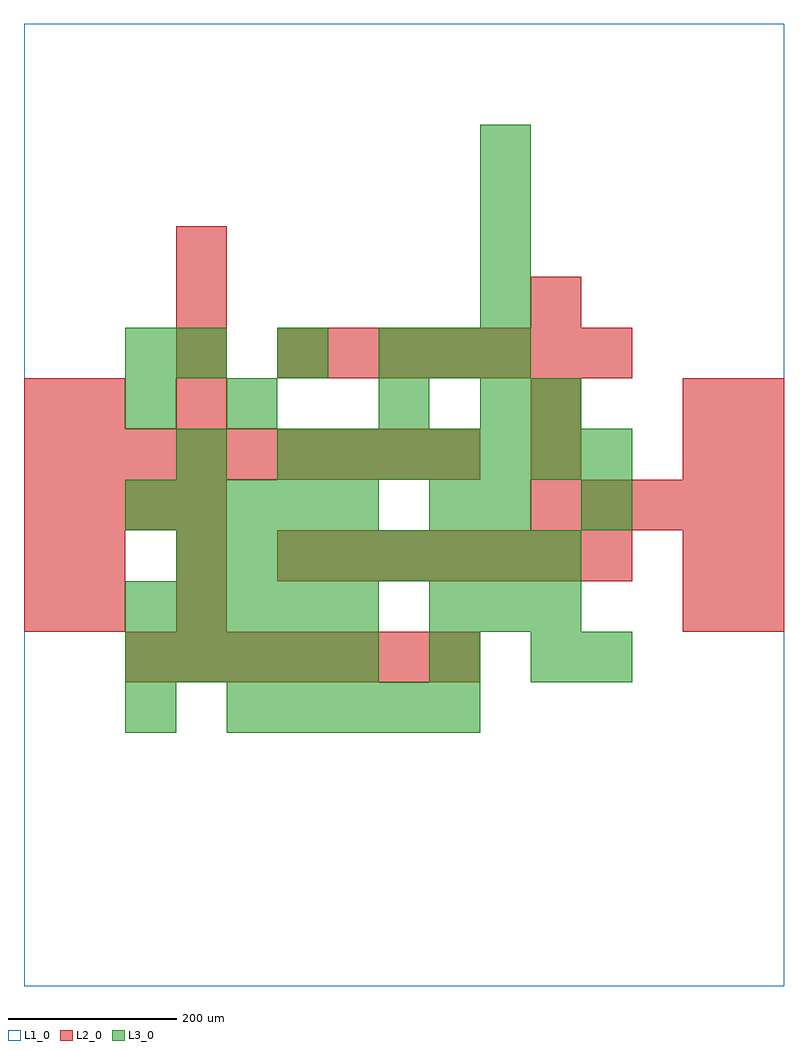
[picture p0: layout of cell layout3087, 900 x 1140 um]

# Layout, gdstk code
import gdstk
lib = gdstk.Library(unit=1e-6, precision=1e-09)
def R(c, l, rs):  # rectangles x0, y0, x1, y1
    for r in rs: c.add(gdstk.rectangle(r[:2], r[2:], *l))
def A(c, l, x, y, w, h, nx, ny, dx, dy):  # array of equal rectangles
    R(c, l, [(x+i*dx, y+j*dy, x+i*dx+w, y+j*dy+h) for i in range(nx) for j in range(ny)])
L1_0 = (1, 0)
L2_0 = (2, 0)
L3_0 = (3, 0)

layout3087 = lib.new_cell('layout3087')
R(layout3087, L1_0, [(0,0,900,1140)])
A(layout3087, L2_0, 120, 360, 60, 60, 7, 1, 60, 0)
A(layout3087, L2_0, 60, 480, 60, 60, 3, 1, 120, 0)
A(layout3087, L2_0, 360, 480, 60, 60, 6, 1, 60, 0)
A(layout3087, L2_0, 0, 540, 60, 60, 4, 1, 60, 0)
A(layout3087, L2_0, 600, 540, 60, 60, 5, 1, 60, 0)
A(layout3087, L2_0, 0, 600, 60, 60, 9, 1, 60, 0)
A(layout3087, L2_0, 180, 660, 60, 60, 1, 4, 0, 60)
A(layout3087, L2_0, 300, 720, 60, 60, 7, 1, 60, 0)
R(layout3087, L2_0, [(0,420,60,480), (60,420,120,480), (180,420,240,480), (780,420,840,480), (840,420,900,480), (0,480,60,540), (780,480,840,540), (840,480,900,540), (600,600,660,660), (780,600,840,660), (840,600,900,660), (0,660,60,720), (60,660,120,720), (600,660,660,720), (780,660,840,720), (840,660,900,720), (600,780,660,840)])
A(layout3087, L3_0, 240, 300, 60, 60, 5, 1, 60, 0)
A(layout3087, L3_0, 120, 360, 60, 60, 5, 2, 60, 60)
A(layout3087, L3_0, 480, 360, 60, 60, 1, 3, 0, 180)
A(layout3087, L3_0, 480, 420, 60, 60, 3, 1, 60, 0)
A(layout3087, L3_0, 180, 480, 60, 60, 8, 1, 60, 0)
A(layout3087, L3_0, 120, 540, 60, 60, 5, 1, 60, 0)
A(layout3087, L3_0, 300, 600, 60, 60, 7, 1, 60, 0)
A(layout3087, L3_0, 540, 660, 60, 60, 1, 6, 0, 60)
A(layout3087, L3_0, 180, 720, 60, 60, 3, 1, 120, 0)
R(layout3087, L3_0, [(120,300,180,360), (600,360,660,420), (660,360,720,420), (540,540,600,600), (660,540,720,600), (180,600,240,660), (120,660,180,720), (240,660,300,720), (420,660,480,720), (600,660,660,720), (120,720,180,780)])

lib.write_gds('layout3087.gds')
